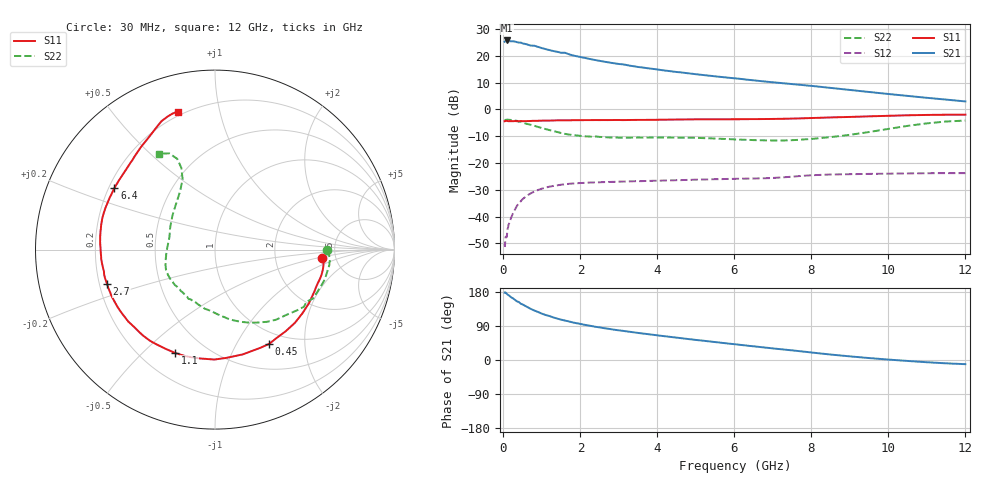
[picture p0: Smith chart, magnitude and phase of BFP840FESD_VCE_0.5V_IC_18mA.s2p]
! (c) 2012  Infineon Technologies AG, Munich
! Infineon Technologies  Discrete & RF Semiconductors
! BFP840FESD
! VCE =  0.5 V,  IC =  18 mA
! Common Emitter S-Parameters:  May 2012
# GHz  S  MA  R  50
!  f  S11  S21  S12  S22
! GHz  MAG  ANG  MAG  ANG  MAG  ANG  MAG  ANG
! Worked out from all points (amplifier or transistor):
!   103 points, 30 MHz to 12 GHz, reference 50 ohm
!   highest |S21| = 25.7 dB at 80 MHz (marker M1)
!   |S21| within 3 dB of that: start of sweep to 1.034 GHz
!   unconditionally stable (mu >= 1): start of sweep to 231.9 MHz; 3.653 GHz to end of sweep
!   at 400 MHz: K = 0.66, MSG = 30.0 dB, |S12| = -35.1 dB
!   at 3.7 GHz: K = 1.01, MAG = 20.5 dB, |S12| = -26.7 dB
!   at 12 GHz: K = 1.64, MAG = 8.7 dB, |S12| = -23.8 dB
!   S11 on the Smith chart (normalised r, x): 30 MHz: 3.89, -0.57; 450 MHz: 0.83, -1.37; 1.1 GHz: 0.34, -0.63; 2.7 GHz: 0.23, -0.15; 6.4 GHz: 0.22, +0.27; 12 GHz: 0.18, +0.75
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0.03  0.5984 -4.5  18.26 177.6  0.0031 39.0  0.6243 -0.4
0.05  0.6095 -7.2  18.91 178.5  0.004 53.1  0.6352 -2.0
0.08  0.6105 -11.9  19.31 175.1  0.0041 56.2  0.6409 -4.8
0.13  0.6012 -19.5  18.65 171.1  0.007 61.3  0.641 -9.3
0.2  0.6027 -29.6  18.64 165.4  0.0095 63.2  0.6345 -14.9
0.3  0.6039 -42.6  18.44 158.6  0.0135 63.0  0.617 -22.4
0.4  0.6002 -54.9  17.61 152.9  0.0176 61.0  0.5869 -29.7
0.45  0.606 -60.2  17.63 148.6  0.0193 59.2  0.5892 -32.7
0.7  0.6068 -84.3  15.54 135.3  0.0269 51.5  0.5178 -49.0
0.8  0.6126 -90.4  15.43 130.7  0.0292 48.9  0.4949 -54.4
1.1  0.6172 -111.2  13.28 118.6  0.0348 41.2  0.4278 -70.2
1.5  0.6247 -129.7  11.38 106.4  0.0393 33.7  0.3617 -87.4
1.6  0.624 -132.0  11.38 104.1  0.04 32.1  0.349 -91.5
1.8  0.6278 -140.2  10.16 99.1  0.0413 29.7  0.3341 -99.9
2.1  0.6298 -149.0  9.173 93.0  0.0425 26.7  0.3133 -110.1
2.7  0.6312 -162.2  7.592 82.8  0.0441 23.0  0.3004 -125.1
4.1  0.6416 176.2  5.411 63.8  0.0468 19.4  0.2981 -147.5
6.1  0.6537 152.3  3.748 40.6  0.0507 17.9  0.2736 -174.1
6.4  0.6575 148.4  3.538 37.1  0.0511 18.0  0.2689 -179.2
8.5  0.7069 125.3  2.514 14.4  0.0609 16.2  0.3037 141.3
10.5  0.7753 112.6  1.783 -2.5  0.0638 11.5  0.4923 112.4
12  0.7962 105.2  1.406 -11.0  0.0645 10.8  0.6182 120.1
